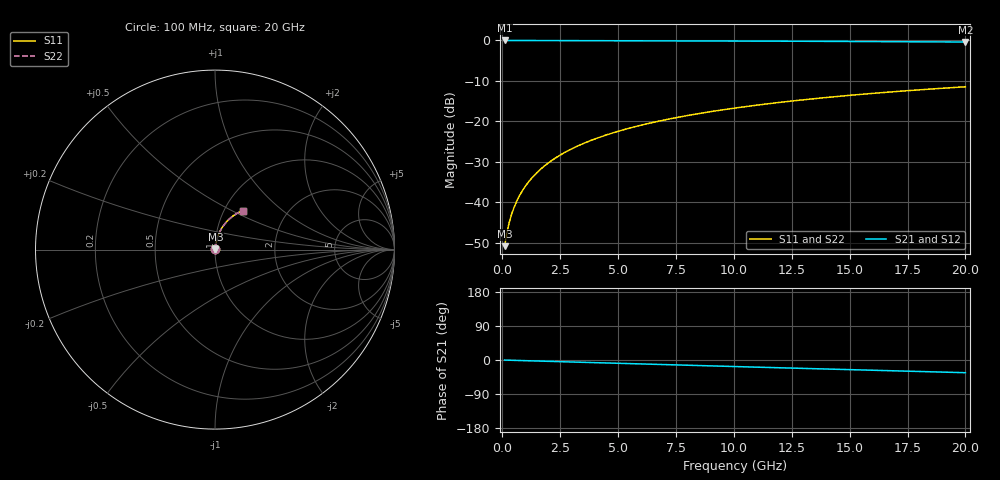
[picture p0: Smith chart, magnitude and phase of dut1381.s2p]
! Touchstone file exported from HFSS 2026.1.0
!  File:  C:/ffzhzh/LocalFiles/Ansys_Project_Files/temp_train_TMRDL_1381_1783166036_22436.aedt
!  Generated:  07:55:11 PM Jul  4, 2026
!  Design:  TMRDL
!  Project:  temp_train_TMRDL_1381_1783166036_22436
! Variables:
!  h_bsmrdl = 2um
!  h_ox = 20um
!  h_rdl = 5um
!  h_sub = 80um
!  h_tmrdl = 3.46um
!  h_tsv = 80um
!  h_via = 3um
!  l_bsmrdl = 300um
!  l_sub = 900.83um
!  l_tmrdl = 500.83um
!  m_sub = 200um
!  pitch = 45.47um
!  r_tsv = 6um
!  s_tmrdl = 10um
!  w_bsmrdl = 18um
!  w_sub = 500um
!  w_tmrdl = 25.5um
!  x_tsv_center1 = 513.58um
!  x_tsv_center2 = 831.58um
!  x_tsv_center3 = 1357.91um
!  x_tsv_center4 = 1675.91um
!  x_tsv_center5 = 2202.24um
!  x_tsv_center6 = 2520.24um
# GHz S MA R 50.000000
! Terminal data exported
! Port[1] = TM_RDL1_1_T1
! Port[2] = TM_RDL1_1_T2
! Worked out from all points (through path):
!   200 points, 100 MHz to 20 GHz, reference 50 ohm
!   highest |S21| = -0.02 dB at 100 MHz (marker M1); lowest = -0.4 dB at 20 GHz (marker M2)
!   group delay of S21, straight-line fit = 4.65 ps
!   lowest |S11| = -50.9 dB at 100 MHz (marker M3), VSWR 1.01, Z = 50.2 + j0.175 ohm
!   |S11| at or under -10 dB: start of sweep to end of sweep
!   |S22| runs from -50.9 to -11.5 dB; largest |S21 - S12| = 2.7e-15
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0.1  0.002855 37.6  0.9977 -0.2  0.9977 -0.2  0.002855 37.6
! Gamma 0 0 0 0
! Port Impedance 50 0 50 0
0.2  0.004175 54.5  0.9976 -0.4  0.9976 -0.4  0.004175 54.5
0.3  0.005608 62.3  0.9974 -0.6  0.9974 -0.6  0.005608 62.3
0.4  0.007047 66.9  0.9973 -0.7  0.9973 -0.7  0.007047 66.9
0.5  0.008485 70.0  0.9972 -0.9  0.9972 -0.9  0.008485 70.0
0.6  0.009928 72.2  0.9971 -1.1  0.9971 -1.1  0.009929 72.2
0.8  0.01284 75.3  0.997 -1.4  0.997 -1.4  0.01284 75.3
1.1  0.01726 77.9  0.9968 -1.9  0.9968 -1.9  0.01726 77.9
1.3  0.02024 78.9  0.9967 -2.3  0.9967 -2.3  0.02024 78.9
1.6  0.02472 79.8  0.9965 -2.8  0.9965 -2.8  0.02472 79.8
2.1  0.0322 80.4  0.9962 -3.7  0.9962 -3.7  0.0322 80.4
2.7  0.04118 80.3  0.9956 -4.7  0.9956 -4.7  0.04118 80.3
3.5  0.05308 79.7  0.9948 -6.1  0.9948 -6.1  0.05308 79.7
4.2  0.06341 78.9  0.9939 -7.4  0.9939 -7.4  0.06341 78.9
5  0.0751 77.8  0.9927 -8.7  0.9927 -8.7  0.0751 77.8
5.9  0.08809 76.5  0.9912 -10.3  0.9912 -10.3  0.08809 76.5
6.8  0.1009 75.1  0.9895 -11.8  0.9895 -11.8  0.1009 75.1
8.3  0.1219 72.8  0.9865 -14.4  0.9865 -14.4  0.1219 72.8
10.1  0.1463 69.9  0.9824 -17.4  0.9824 -17.4  0.1463 69.9
13.4  0.1893 64.7  0.974 -22.9  0.974 -22.9  0.1893 64.7
16.7  0.2295 59.6  0.9645 -28.2  0.9645 -28.2  0.2295 59.6
20  0.2669 54.5  0.9543 -33.5  0.9543 -33.5  0.2669 54.5
